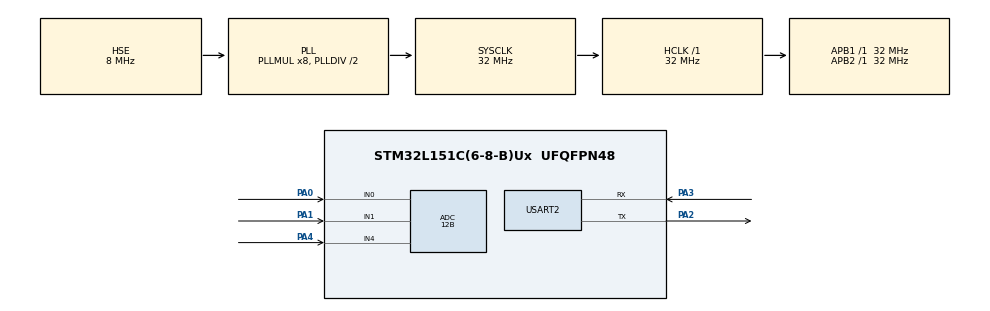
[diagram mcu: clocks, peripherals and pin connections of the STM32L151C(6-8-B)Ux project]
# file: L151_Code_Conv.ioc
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ADC.Channel-0\#ChannelRegularConversion=ADC_CHANNEL_0
ADC.Channel-1\#ChannelRegularConversion=ADC_CHANNEL_1
ADC.Channel-2\#ChannelRegularConversion=ADC_CHANNEL_4
ADC.ClockPrescaler=ADC_CLOCK_ASYNC_DIV1
ADC.ContinuousConvMode=ENABLE
ADC.DMAContinuousRequests=DISABLE
ADC.DataAlign=ADC_DATAALIGN_RIGHT
ADC.DiscontinuousConvMode=DISABLE
ADC.EOCSelection=ADC_EOC_SEQ_CONV
ADC.EnableAnalogWatchDog=false
ADC.ExternalTrigConv=ADC_SOFTWARE_START
ADC.ExternalTrigConvEdge=ADC_EXTERNALTRIGCONVEDGE_NONE
ADC.InjNumberOfConversion=0
ADC.LowPowerAutoPowerOff=ADC_AUTOPOWEROFF_DISABLE
ADC.LowPowerAutoWait=ADC_AUTOWAIT_DISABLE
ADC.NbrOfConversion=3
ADC.NbrOfConversionFlag=1
ADC.Rank-0\#ChannelRegularConversion=1
ADC.Rank-1\#ChannelRegularConversion=2
ADC.Rank-2\#ChannelRegularConversion=3
ADC.Resolution=ADC_RESOLUTION_12B
ADC.SamplingTime-0\#ChannelRegularConversion=ADC_SAMPLETIME_384CYCLES
ADC.SamplingTime-1\#ChannelRegularConversion=ADC_SAMPLETIME_384CYCLES
ADC.SamplingTime-2\#ChannelRegularConversion=ADC_SAMPLETIME_384CYCLES
ADC.ScanConvMode=ADC_SCAN_ENABLE
Mcu.Family=STM32L1
Mcu.Name=STM32L151C(6-8-B)Ux
Mcu.Package=UFQFPN48
NVIC.PriorityGroup=NVIC_PRIORITYGROUP_4
NVIC.RCC_IRQn=true\:0\:0\:false\:false\:true\:true
NVIC.USART2_IRQn=true\:0\:0\:false\:false\:true\:true
PA0-WKUP1.Mode=IN0
PA0-WKUP1.Signal=ADC_IN0
PA1.Mode=IN1
PA1.Signal=ADC_IN1
PA2.Mode=Asynchronous
PA2.Signal=USART2_TX
PA3.Mode=Asynchronous
PA3.Signal=USART2_RX
PA4.Mode=IN4
PA4.Signal=ADC_IN4
PC14-OSC32_IN.Mode=LSE-External-Oscillator
PC14-OSC32_IN.Signal=RCC_OSC32_IN
PC15-OSC32_OUT.Mode=LSE-External-Oscillator
PC15-OSC32_OUT.Signal=RCC_OSC32_OUT
PH0-OSC_IN.Mode=HSE-External-Oscillator
PH0-OSC_IN.Signal=RCC_OSC_IN
PH1-OSC_OUT.Mode=HSE-External-Oscillator
PH1-OSC_OUT.Signal=RCC_OSC_OUT
ProjectManager.HeapSize=0x200
ProjectManager.StackSize=0x400
ProjectManager.TargetToolchain=TrueSTUDIO
RCC.48MHZClocksFreq_Value=32000000
RCC.AHBFreq_Value=32000000
RCC.APB1Freq_Value=32000000
RCC.APB1TimFreq_Value=32000000
RCC.APB2Freq_Value=32000000
RCC.APB2TimFreq_Value=32000000
RCC.HCLKFreq_Value=32000000
RCC.HSE_VALUE=8000000
RCC.HSI_VALUE=16000000
RCC.MSI_VALUE=2097000
RCC.PLLMUL=RCC_PLL_MUL8
RCC.PLLSourceVirtual=RCC_PLLSOURCE_HSE
RCC.RTCClockSelection=RCC_RTCCLKSOURCE_LSE
RCC.RTCClockSelectionVirtual=RCC_RTCCLKSOURCE_LSE
RCC.SYSCLKFreq_VALUE=32000000
RCC.SYSCLKSource=RCC_SYSCLKSOURCE_PLLCLK
RCC.VCOOutputFreq_Value=64000000
USART2.VirtualMode=VM_ASYNC
VP_RTC_VS_RTC_Activate.Mode=RTC_Enabled
board=custom

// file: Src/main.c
/**
  ******************************************************************************
  * @file           : main.c
  * @brief          : Main program body
  ******************************************************************************
  ** This notice applies to any and all portions of this file
  * that are not between comment pairs USER CODE BEGIN and
  * USER CODE END. Other portions of this file, whether
  * inserted by the user or by software development tools
  * are owned by their respective copyright owners.
  *
  * COPYRIGHT(c) 2018 STMicroelectronics
  *
  * Redistribution and use in source and binary forms, with or without modification,
  * are permitted provided that the following conditions are met:
  *   1. Redistributions of source code must retain the above copyright notice,
  *      this list of conditions and the following disclaimer.
  *   2. Redistributions in binary form must reproduce the above copyright notice,
  *      this list of conditions and the following disclaimer in the documentation
  *      and/or other materials provided with the distribution.
  *   3. Neither the name of STMicroelectronics nor the names of its contributors
  *      may be used to endorse or promote products derived from this software
  *      without specific prior written permission.
  *
  * THIS SOFTWARE IS PROVIDED BY THE COPYRIGHT HOLDERS AND CONTRIBUTORS "AS IS"
  * AND ANY EXPRESS OR IMPLIED WARRANTIES, INCLUDING, BUT NOT LIMITED TO, THE
  * IMPLIED WARRANTIES OF MERCHANTABILITY AND FITNESS FOR A PARTICULAR PURPOSE ARE
  * DISCLAIMED. IN NO EVENT SHALL THE COPYRIGHT HOLDER OR CONTRIBUTORS BE LIABLE
  * FOR ANY DIRECT, INDIRECT, INCIDENTAL, SPECIAL, EXEMPLARY, OR CONSEQUENTIAL
  * DAMAGES (INCLUDING, BUT NOT LIMITED TO, PROCUREMENT OF SUBSTITUTE GOODS OR
  * SERVICES; LOSS OF USE, DATA, OR PROFITS; OR BUSINESS INTERRUPTION) HOWEVER
  * CAUSED AND ON ANY THEORY OF LIABILITY, WHETHER IN CONTRACT, STRICT LIABILITY,
  * OR TORT (INCLUDING NEGLIGENCE OR OTHERWISE) ARISING IN ANY WAY OUT OF THE USE
  * OF THIS SOFTWARE, EVEN IF ADVISED OF THE POSSIBILITY OF SUCH DAMAGE.
  *
  ******************************************************************************
  */
#include "main.h"
#include "stm32l1xx_hal.h"

ADC_HandleTypeDef hadc;

RTC_HandleTypeDef hrtc;

UART_HandleTypeDef huart2;

/* USER CODE BEGIN PV */
/* Private variables ---------------------------------------------------------*/
uint32_t value1,value2,count=0;
/* USER CODE END PV */

void SystemClock_Config(void);
static void MX_GPIO_Init(void);
static void MX_RTC_Init(void);
static void MX_USART2_UART_Init(void);
static void MX_ADC_Init(void);

/* USER CODE BEGIN PFP */
/* Private function prototypes -----------------------------------------------*/
uint8_t Huminity0AdcGet(void);
uint8_t Huminity1AdcGet(void);
/* USER CODE END PFP */

/* USER CODE BEGIN 0 */
#ifdef __GNUC__
int _write(int file,uint8_t*ptr,int len)
{
	HAL_UART_Transmit(&huart2,ptr,len,1000);
return len;
}
#elif (__ICCARM__||__CC_ARM)
int fputc(int c,FILE*stream)
{
	HAL_UART_Transmit(&huart2,(uint8_t*)&c,1,1000);
	return c;
}
#endif

uint8_t Huminity0AdcGet(void)
{
	uint32_t getHu0Value;
	ADC_ChannelConfTypeDef sConfig;

        sConfig.Channel = ADC_CHANNEL_0;
        sConfig.Rank = ADC_REGULAR_RANK_1;
        sConfig.SamplingTime = ADC_SAMPLETIME_384CYCLES;
        if(HAL_ADC_ConfigChannel(&hadc, &sConfig) != HAL_OK) {
          Error_Handler();
        }

	if(HAL_ADC_Start(&hadc) != HAL_OK) {
		Error_Handler();
	}

	HAL_ADC_PollForConversion(&hadc, HAL_MAX_DELAY);

	if((HAL_ADC_GetState(&hadc) & HAL_ADC_STATE_EOC_REG) == HAL_ADC_STATE_EOC_REG) {
		getHu0Value = HAL_ADC_GetValue(&hadc);
	}

	if(HAL_ADC_Stop(&hadc) != HAL_OK) {
		Error_Handler();
	}

	return (uint8_t)getHu0Value;
}

uint8_t Huminity1AdcGet(void)
{
	uint32_t getHu0Value;
	ADC_ChannelConfTypeDef sConfig;

        sConfig.Channel = ADC_CHANNEL_1;
        sConfig.Rank = ADC_REGULAR_RANK_2;
        sConfig.SamplingTime = ADC_SAMPLETIME_384CYCLES;
        if(HAL_ADC_ConfigChannel(&hadc, &sConfig) != HAL_OK) {
          Error_Handler();
        }

	if(HAL_ADC_Start(&hadc) != HAL_OK) {
		Error_Handler();
	}

	HAL_ADC_PollForConversion(&hadc, HAL_MAX_DELAY);

	if((HAL_ADC_GetState(&hadc) & HAL_ADC_STATE_EOC_REG) == HAL_ADC_STATE_EOC_REG) {
		getHu0Value = HAL_ADC_GetValue(&hadc);
	}

	if(HAL_ADC_Stop(&hadc) != HAL_OK) {
		Error_Handler();
	}

	return (uint8_t)getHu0Value;
}

/* USER CODE END 0 */

int main(void)
{

  /* MCU Configuration----------------------------------------------------------*/

  /* Reset of all peripherals, Initializes the Flash interface and the Systick. */
  HAL_Init();

  /* Configure the system clock */
  SystemClock_Config();

  /* Initialize all configured peripherals */
  MX_GPIO_Init();
  MX_RTC_Init();
  MX_USART2_UART_Init();
  MX_ADC_Init();

  /* Infinite loop */
  while (1)
  {

  /* USER CODE BEGIN 3 */

	  //value1 = Huminity0AdcGet();
	  //value2 = Huminity1AdcGet();

	  HAL_ADC_Start(&hadc);
	  HAL_ADC_PollForConversion(&hadc,10);
	  value1 = HAL_ADC_GetValue(&hadc);
	  HAL_ADC_PollForConversion(&hadc,10);
	  value2 = HAL_ADC_GetValue(&hadc);
	  HAL_ADC_Stop(&hadc);
	  // printf("data : %7lu,%7lu : %7lu\r\n",value1,value2,count++);
	  // HAL_Delay(100);
  }
  /* USER CODE END 3 */

}

void SystemClock_Config(void)
{

  RCC_OscInitTypeDef RCC_OscInitStruct;
  RCC_ClkInitTypeDef RCC_ClkInitStruct;
  RCC_PeriphCLKInitTypeDef PeriphClkInit;

    /**Configure the main internal regulator output voltage
    */
  __HAL_PWR_VOLTAGESCALING_CONFIG(PWR_REGULATOR_VOLTAGE_SCALE1);

    /**Initializes the CPU, AHB and APB busses clocks
    */
  RCC_OscInitStruct.OscillatorType = RCC_OSCILLATORTYPE_HSI|RCC_OSCILLATORTYPE_HSE
                              |RCC_OSCILLATORTYPE_LSE;
  RCC_OscInitStruct.HSEState = RCC_HSE_ON;
  RCC_OscInitStruct.LSEState = RCC_LSE_ON;
  RCC_OscInitStruct.HSIState = RCC_HSI_ON;
  RCC_OscInitStruct.HSICalibrationValue = 16;
  RCC_OscInitStruct.PLL.PLLState = RCC_PLL_ON;
  RCC_OscInitStruct.PLL.PLLSource = RCC_PLLSOURCE_HSE;
  RCC_OscInitStruct.PLL.PLLMUL = RCC_PLL_MUL8;
  RCC_OscInitStruct.PLL.PLLDIV = RCC_PLL_DIV2;
  if (HAL_RCC_OscConfig(&RCC_OscInitStruct) != HAL_OK)
  {
    _Error_Handler(__FILE__, __LINE__);
  }

    /**Initializes the CPU, AHB and APB busses clocks
    */
  RCC_ClkInitStruct.ClockType = RCC_CLOCKTYPE_HCLK|RCC_CLOCKTYPE_SYSCLK
                              |RCC_CLOCKTYPE_PCLK1|RCC_CLOCKTYPE_PCLK2;
  RCC_ClkInitStruct.SYSCLKSource = RCC_SYSCLKSOURCE_PLLCLK;
  RCC_ClkInitStruct.AHBCLKDivider = RCC_SYSCLK_DIV1;
  RCC_ClkInitStruct.APB1CLKDivider = RCC_HCLK_DIV1;
  RCC_ClkInitStruct.APB2CLKDivider = RCC_HCLK_DIV1;

  if (HAL_RCC_ClockConfig(&RCC_ClkInitStruct, FLASH_LATENCY_1) != HAL_OK)
  {
    _Error_Handler(__FILE__, __LINE__);
  }

  PeriphClkInit.PeriphClockSelection = RCC_PERIPHCLK_RTC;
  PeriphClkInit.RTCClockSelection = RCC_RTCCLKSOURCE_LSE;
  if (HAL_RCCEx_PeriphCLKConfig(&PeriphClkInit) != HAL_OK)
  {
    _Error_Handler(__FILE__, __LINE__);
  }

    /**Configure the Systick interrupt time
    */
  HAL_SYSTICK_Config(HAL_RCC_GetHCLKFreq()/1000);

    /**Configure the Systick
    */
  HAL_SYSTICK_CLKSourceConfig(SYSTICK_CLKSOURCE_HCLK);

  /* SysTick_IRQn interrupt configuration */
  HAL_NVIC_SetPriority(SysTick_IRQn, 0, 0);
}

/* ADC init function */
static void MX_ADC_Init(void)
{

  ADC_ChannelConfTypeDef sConfig;

    /**Configure the global features of the ADC (Clock, Resolution, Data Alignment and number of conversion)
    */
  hadc.Instance = ADC1;
  hadc.Init.ClockPrescaler = ADC_CLOCK_ASYNC_DIV1;
  hadc.Init.Resolution = ADC_RESOLUTION_12B;
  hadc.Init.DataAlign = ADC_DATAALIGN_RIGHT;
  hadc.Init.ScanConvMode = ADC_SCAN_ENABLE;
  hadc.Init.EOCSelection = ADC_EOC_SEQ_CONV;
  hadc.Init.LowPowerAutoWait = ADC_AUTOWAIT_DISABLE;
  hadc.Init.LowPowerAutoPowerOff = ADC_AUTOPOWEROFF_DISABLE;
  hadc.Init.ChannelsBank = ADC_CHANNELS_BANK_A;
  hadc.Init.ContinuousConvMode = ENABLE;
  hadc.Init.NbrOfConversion = 3;
  hadc.Init.DiscontinuousConvMode = DISABLE;
  hadc.Init.ExternalTrigConv = ADC_SOFTWARE_START;
  hadc.Init.ExternalTrigConvEdge = ADC_EXTERNALTRIGCONVEDGE_NONE;
  hadc.Init.DMAContinuousRequests = DISABLE;
  if (HAL_ADC_Init(&hadc) != HAL_OK)
  {
    _Error_Handler(__FILE__, __LINE__);
  }

    /**Configure for the selected ADC regular channel its corresponding rank in the sequencer and its sample time.
    */
  sConfig.Channel = ADC_CHANNEL_0;
  sConfig.Rank = ADC_REGULAR_RANK_1;
  sConfig.SamplingTime = ADC_SAMPLETIME_384CYCLES;
  if (HAL_ADC_ConfigChannel(&hadc, &sConfig) != HAL_OK)
  {
    _Error_Handler(__FILE__, __LINE__);
  }

    /**Configure for the selected ADC regular channel its corresponding rank in the sequencer and its sample time.
    */
  sConfig.Channel = ADC_CHANNEL_1;
  sConfig.Rank = ADC_REGULAR_RANK_2;
  if (HAL_ADC_ConfigChannel(&hadc, &sConfig) != HAL_OK)
  {
    _Error_Handler(__FILE__, __LINE__);
  }

    /**Configure for the selected ADC regular channel its corresponding rank in the sequencer and its sample time.
    */
  sConfig.Channel = ADC_CHANNEL_4;
  sConfig.Rank = ADC_REGULAR_RANK_3;
  if (HAL_ADC_ConfigChannel(&hadc, &sConfig) != HAL_OK)
  {
    _Error_Handler(__FILE__, __LINE__);
  }

}

/* RTC init function */
static void MX_RTC_Init(void)
{

    /**Initialize RTC Only
    */
  hrtc.Instance = RTC;
  hrtc.Init.HourFormat = RTC_HOURFORMAT_24;
  hrtc.Init.AsynchPrediv = 127;
  hrtc.Init.SynchPrediv = 255;
  hrtc.Init.OutPut = RTC_OUTPUT_DISABLE;
  hrtc.Init.OutPutPolarity = RTC_OUTPUT_POLARITY_HIGH;
  hrtc.Init.OutPutType = RTC_OUTPUT_TYPE_OPENDRAIN;
  if (HAL_RTC_Init(&hrtc) != HAL_OK)
  {
    _Error_Handler(__FILE__, __LINE__);
  }

}

/* USART2 init function */
static void MX_USART2_UART_Init(void)
{

  huart2.Instance = USART2;
  huart2.Init.BaudRate = 115200;
  huart2.Init.WordLength = UART_WORDLENGTH_8B;
  huart2.Init.StopBits = UART_STOPBITS_1;
  huart2.Init.Parity = UART_PARITY_NONE;
  huart2.Init.Mode = UART_MODE_TX_RX;
  huart2.Init.HwFlowCtl = UART_HWCONTROL_NONE;
  huart2.Init.OverSampling = UART_OVERSAMPLING_16;
  if (HAL_UART_Init(&huart2) != HAL_OK)
  {
    _Error_Handler(__FILE__, __LINE__);
  }

}

/** Configure pins as
        * Analog
        * Input
        * Output
        * EVENT_OUT
        * EXTI
*/
static void MX_GPIO_Init(void)
{

  /* GPIO Ports Clock Enable */
  __HAL_RCC_GPIOC_CLK_ENABLE();
  __HAL_RCC_GPIOH_CLK_ENABLE();
  __HAL_RCC_GPIOA_CLK_ENABLE();

}

void _Error_Handler(char *file, int line)
{
  while(1)
  {
  }
}

/************************ (C) COPYRIGHT STMicroelectronics *****END OF FILE****/
